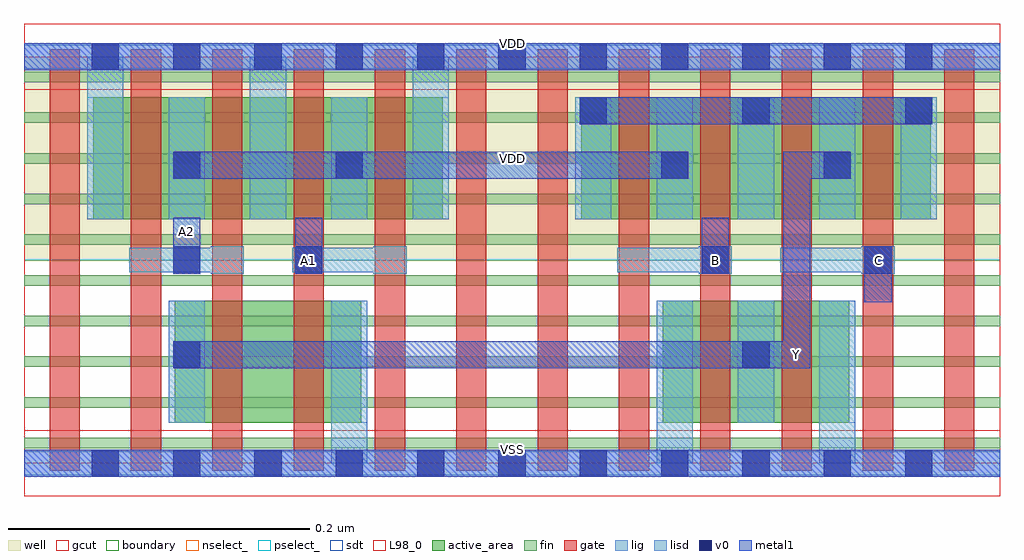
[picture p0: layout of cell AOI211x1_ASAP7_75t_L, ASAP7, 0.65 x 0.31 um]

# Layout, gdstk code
import gdstk
lib = gdstk.Library(unit=1e-6, precision=2.5e-10)
def R(c, l, rs):  # rectangles x0, y0, x1, y1
    for r in rs: c.add(gdstk.rectangle(r[:2], r[2:], *l))
def A(c, l, x, y, w, h, nx, ny, dx, dy):  # array of equal rectangles
    R(c, l, [(x+i*dx, y+j*dy, x+i*dx+w, y+j*dy+h) for i in range(nx) for j in range(ny)])
def P(c, l, *ps):  # polygons
    for p in ps: c.add(gdstk.Polygon(p, *l))
well = (1, 0)
fin = (2, 0)
gate = (7, 0)
gcut = (10, 0)
active_area = (11, 0)
nselect_ = (12, 0)
pselect_ = (13, 0)
lig = (16, 0)
lisd = (17, 0)
v0 = (18, 0)
metal1 = (19, 0)
sdt = (88, 0)
L98_0 = (98, 0)
boundary = (100, 0)

aoi211x1_asap7_75t_l = lib.new_cell('AOI211x1_ASAP7_75t_L')
R(aoi211x1_asap7_75t_l, well, [(0,0.135,0.648,0.27)])
A(aoi211x1_asap7_75t_l, fin, 0, 0.01, 0.648, 0.007, 1, 10, 0, 0.027)
A(aoi211x1_asap7_75t_l, gate, 0.017, -0.005, 0.02, 0.28, 12, 1, 0.054, 0)
R(aoi211x1_asap7_75t_l, gcut, [(0,-0.022,0.648,0.022), (0,0.248,0.648,0.292)])
R(aoi211x1_asap7_75t_l, active_area, [(0.1,0.027,0.224,0.108), (0.424,0.027,0.548,0.108), (0.046,0.162,0.278,0.243), (0.37,0.162,0.602,0.243)])
R(aoi211x1_asap7_75t_l, nselect_, [(0,0,0.648,0.135)])
R(aoi211x1_asap7_75t_l, pselect_, [(0,0.135,0.648,0.27)])
R(aoi211x1_asap7_75t_l, lig, [(0,-0.008,0.648,0.008), (0.124,0.126,0.146,0.144), (0.232,0.126,0.254,0.144), (0.448,0.126,0.47,0.144), (0.556,0.126,0.578,0.144), (0.07,0.127,0.146,0.143), (0.178,0.127,0.254,0.143), (0.394,0.127,0.47,0.143), (0.502,0.127,0.578,0.143), (0,0.262,0.648,0.278)])
A(aoi211x1_asap7_75t_l, lisd, 0.366, 0.162, 0.024, 0.081, 5, 1, 0.054, 0)
R(aoi211x1_asap7_75t_l, lisd, [(0.204,0,0.228,0.108), (0.204,0,0.228,0.108), (0.42,0,0.444,0.108), (0.42,0,0.444,0.108), (0.528,0,0.552,0.108), (0.528,0,0.552,0.108), (0.096,0.027,0.12,0.108), (0.474,0.027,0.498,0.108), (0.042,0.162,0.066,0.27), (0.042,0.162,0.066,0.27), (0.096,0.162,0.12,0.243), (0.15,0.162,0.174,0.27), (0.15,0.162,0.174,0.27), (0.204,0.162,0.228,0.243), (0.258,0.162,0.282,0.27), (0.258,0.162,0.282,0.27)])
A(aoi211x1_asap7_75t_l, v0, 0.045, -0.009, 0.018, 0.018, 11, 2, 0.054, 0.27)
A(aoi211x1_asap7_75t_l, v0, 0.099, 0.063, 0.018, 0.018, 1, 3, 0, 0.063)
A(aoi211x1_asap7_75t_l, v0, 0.369, 0.225, 0.018, 0.018, 3, 1, 0.108, 0)
R(aoi211x1_asap7_75t_l, v0, [(0.477,0.063,0.495,0.081), (0.18,0.126,0.198,0.144), (0.45,0.126,0.468,0.144), (0.558,0.126,0.576,0.144), (0.207,0.189,0.225,0.207), (0.423,0.189,0.441,0.207), (0.531,0.189,0.549,0.207)])
A(aoi211x1_asap7_75t_l, metal1, 0.099, 0.063, 0.018, 0.018, 1, 3, 0, 0.063)
A(aoi211x1_asap7_75t_l, metal1, 0.369, 0.225, 0.018, 0.018, 3, 1, 0.108, 0)
R(aoi211x1_asap7_75t_l, metal1, [(0,-0.009,0.648,0.009), (0.477,0.063,0.495,0.081), (0.558,0.107,0.576,0.144), (0.099,0.126,0.117,0.163), (0.18,0.126,0.198,0.144), (0.18,0.126,0.198,0.163), (0.45,0.126,0.468,0.144), (0.45,0.126,0.468,0.163), (0.558,0.126,0.576,0.144), (0.099,0.189,0.441,0.207), (0.207,0.189,0.225,0.207), (0.423,0.189,0.441,0.207), (0.531,0.189,0.549,0.207), (0.369,0.225,0.603,0.243), (0,0.261,0.648,0.279)])
P(aoi211x1_asap7_75t_l, metal1, [(0.522,0.189),(0.549,0.189),(0.549,0.207),(0.504,0.207),(0.504,0.081),(0.099,0.081),(0.099,0.063),(0.522,0.063)])
A(aoi211x1_asap7_75t_l, sdt, 0.42, 0.027, 0.024, 0.081, 3, 1, 0.054, 0)
A(aoi211x1_asap7_75t_l, sdt, 0.042, 0.162, 0.024, 0.081, 3, 1, 0.054, 0)
A(aoi211x1_asap7_75t_l, sdt, 0.15, 0.162, 0.024, 0.081, 3, 1, 0.054, 0)
A(aoi211x1_asap7_75t_l, sdt, 0.366, 0.162, 0.024, 0.081, 5, 1, 0.054, 0)
R(aoi211x1_asap7_75t_l, sdt, [(0.096,0.027,0.12,0.108), (0.204,0.027,0.228,0.108), (0.204,0.027,0.228,0.108), (0.42,0.027,0.444,0.108), (0.528,0.027,0.552,0.108), (0.042,0.162,0.066,0.243), (0.258,0.162,0.282,0.243)])
R(aoi211x1_asap7_75t_l, L98_0, [(0,0,0.648,0.27)])
R(aoi211x1_asap7_75t_l, boundary, [(0,0,0.648,0.27)])
aoi211x1_asap7_75t_l.add(gdstk.Label('VDD', (0.324,0.2025), layer=1, texttype=251))
aoi211x1_asap7_75t_l.add(gdstk.Label('VSS', (0.324,-0.0675), layer=3, texttype=251))
aoi211x1_asap7_75t_l.add(gdstk.Label('VSS', (0.324,0.009), layer=19, texttype=251))
aoi211x1_asap7_75t_l.add(gdstk.Label('VDD', (0.324,0.279), layer=19, texttype=251))
aoi211x1_asap7_75t_l.add(gdstk.Label('A2', (0.108,0.154), layer=19, texttype=251))
aoi211x1_asap7_75t_l.add(gdstk.Label('Y', (0.513,0.072), layer=19, texttype=251))
aoi211x1_asap7_75t_l.add(gdstk.Label('A1', (0.189,0.135), layer=19, texttype=251))
aoi211x1_asap7_75t_l.add(gdstk.Label('B', (0.459,0.135), layer=19, texttype=251))
aoi211x1_asap7_75t_l.add(gdstk.Label('C', (0.567,0.135), layer=19, texttype=251))

lib.write_gds('AOI211x1_ASAP7_75t_L.gds')
